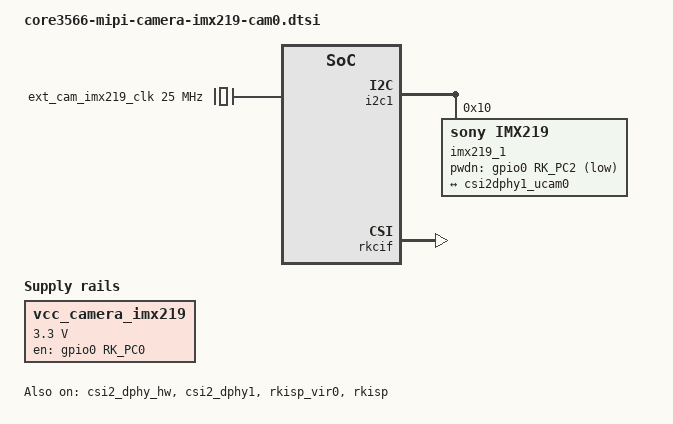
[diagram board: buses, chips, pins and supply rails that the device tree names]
// SPDX-License-Identifier: (GPL-2.0+ OR MIT)
/*
 * Copyright (c) 2023 luckfox technology Limited.
 */

/ {
	vcc_camera_imx219: vcc-camera-imx219 {
		status = "okay";
		compatible = "regulator-fixed";
		regulator-name = "vcc_camera_imx219";
		gpio = <&gpio0 RK_PC0 GPIO_ACTIVE_HIGH>;
		enable-active-high;
		regulator-min-microvolt = <3300000>;
		regulator-max-microvolt = <3300000>;
		regulator-always-on;
		regulator-boot-on;
	};

	ext_cam_imx219_clk: external-camera-imx219-clock {
		compatible = "fixed-clock";
		clock-frequency = <25000000>;
		clock-output-names = "ext_cam_imx219_clk";
		#clock-cells = <0>;
	};
};

&i2c1 {
	status = "okay";

	imx219_1: imx219-1@10 {
		status = "okay";
		compatible = "sony,imx219";
		reg = <0x10>;

		clocks = <&ext_cam_imx219_clk>;
		clock-names = "ext_cam_imx219_clk";
		pwdn-gpios = <&gpio0 RK_PC2 GPIO_ACTIVE_LOW>;

		rockchip,camera-module-index = <0>;
		rockchip,camera-module-name = "Waveshare";
		rockchip,camera-module-lens-name = "Picamera";
		rockchip,camera-module-facing = "front";

		port {
			imx219_1_out: endpoint {
				remote-endpoint = <&csi2dphy1_ucam0>;
				data-lanes = <1 2>;
			};
		};
	};
};

&csi2_dphy_hw {
	status = "okay";
};

&csi2_dphy1 {
	status = "okay";

	ports {
		#address-cells = <1>;
		#size-cells = <0>;

		port@0 {
			reg = <0>;
			#address-cells = <1>;
			#size-cells = <0>;

			csi2dphy1_ucam0: endpoint@1 {
				reg = <1>;
				remote-endpoint = <&imx219_1_out>;
				data-lanes = <1 2>;
			};
		};

		port@1 {
			reg = <1>;
			#address-cells = <1>;
			#size-cells = <0>;

			csi2dphy1_out: endpoint@1 {
				reg = <1>;
				remote-endpoint = <&isp0_in>;
			};
		};
	};
};

&rkisp_vir0 {
	status = "okay";
	#address-cells = <1>;
	#size-cells = <0>;

	port {
		reg = <0>;
		#address-cells = <1>;
		#size-cells = <0>;

		isp0_in: endpoint@0 {
			reg = <0>;
			remote-endpoint = <&csi2dphy1_out>;
		};
	};
};

&rkisp {
	status = "okay";
};

&rkisp_mmu {
	status = "okay";
};

&rkcif_mmu {
	status = "okay";
};

&rkcif {
	status = "okay";
};
